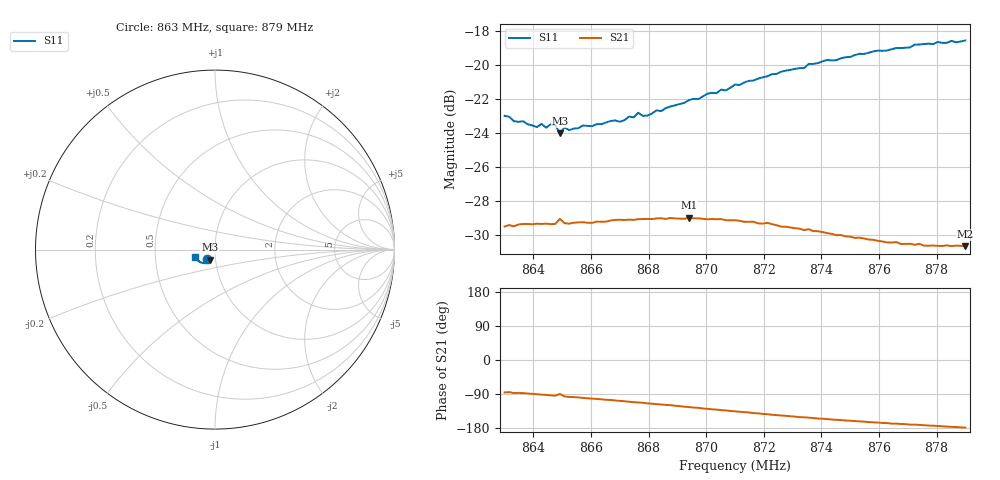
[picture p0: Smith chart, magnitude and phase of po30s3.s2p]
# HZ S RI R 50
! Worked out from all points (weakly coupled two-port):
!   101 points, 863 MHz to 879 MHz, reference 50 ohm
!   highest |S21| = -28.96 dB at 869.4 MHz (marker M1); lowest = -30.6 dB at 879 MHz (marker M2)
!   lowest |S11| = -24.0 dB at 864.92 MHz (marker M3), VSWR 1.13, Z = 46.9 - j5.29 ohm
!   |S11| at or under -10 dB: start of sweep to end of sweep
!   S12 and S22 are empty: the file has one direction only
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8.63e8  -0.0466 -0.0535  0.0026 -0.0335  0 0  0 0
8.6332e8  -0.043 -0.0533  0.00163 -0.0336  0 0  0 0
8.6412e8  -0.0401 -0.0521  -0.000206 -0.0342  0 0  0 0
8.6428e8  -0.0389 -0.0548  -0.000904 -0.0342  0 0  0 0
8.6444e8  -0.0386 -0.0529  -0.00122 -0.0342  0 0  0 0
8.6476e8  -0.0379 -0.0548  -0.00252 -0.0341  0 0  0 0
8.6492e8  -0.0287 -0.0561  0.000225 -0.0354  0 0  0 0
8.6508e8  -0.0361 -0.0548  -0.00372 -0.0342  0 0  0 0
8.6524e8  -0.0353 -0.0539  -0.00435 -0.034  0 0  0 0
8.6572e8  -0.0344 -0.0569  -0.00602 -0.0341  0 0  0 0
8.67e8  -0.034 -0.0591  -0.0108 -0.0335  0 0  0 0
8.6732e8  -0.0346 -0.0615  -0.0121 -0.033  0 0  0 0
8.6748e8  -0.0335 -0.0617  -0.0127 -0.0328  0 0  0 0
8.6764e8  -0.0358 -0.063  -0.0133 -0.0327  0 0  0 0
8.678e8  -0.0353 -0.0615  -0.0138 -0.0326  0 0  0 0
8.6844e8  -0.0355 -0.0641  -0.0164 -0.0315  0 0  0 0
8.694e8  -0.0388 -0.0687  -0.02 -0.0295  0 0  0 0
8.7068e8  -0.0432 -0.0723  -0.0239 -0.0256  0 0  0 0
8.71e8  -0.0476 -0.0736  -0.025 -0.0246  0 0  0 0
8.7372e8  -0.0666 -0.0756  -0.0291 -0.0147  0 0  0 0
8.7644e8  -0.0919 -0.0626  -0.0295 -0.00629  0 0  0 0
8.79e8  -0.1111 -0.04  -0.0294 -0.000846  0 0  0 0
